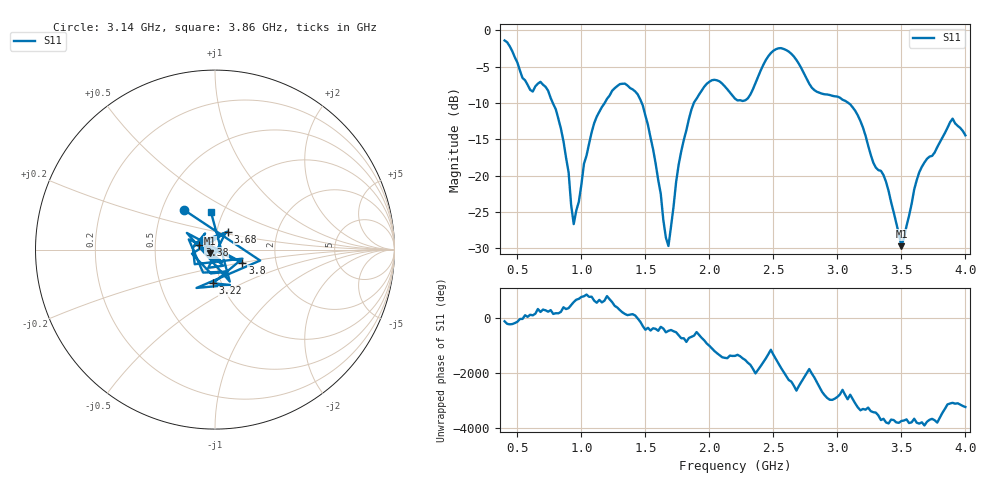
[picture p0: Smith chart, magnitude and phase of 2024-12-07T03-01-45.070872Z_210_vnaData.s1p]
!Created with skrf (http://scikit-rf.org).
# Hz S RI R 50.0
!freq ReS11 ImS11
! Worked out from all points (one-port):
!   181 points, 400 MHz to 4 GHz, reference 50 ohm
!   lowest |S11| = -29.7 dB at 3.5 GHz (marker M1), VSWR 1.07, Z = 47.4 - j1.83 ohm
!   |S11| at or under -10 dB: 776.5 MHz to 1.182 GHz (405.4 MHz wide, 41.4 % of centre); 1.471 GHz to 1.879 GHz (407.3 MHz wide, 24.3 % of centre); 3.085 GHz to end of sweep
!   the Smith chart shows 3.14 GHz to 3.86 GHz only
!   S11 on the Smith chart (normalised r, x): 3.14 GHz: 0.65, +0.31; 3.22 GHz: 0.91, -0.35; 3.38 GHz: 0.84, +0.04; 3.68 GHz: 1.13, +0.23; 3.8 GHz: 1.34, -0.20; 3.86 GHz: 0.87, +0.39
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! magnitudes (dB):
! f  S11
! 400 MHz  -1.4
! 600 MHz  -8.2
! 740 MHz  -8.3
! 860 MHz  -15.3
! 940 MHz  -26.7
! 1.1 GHz  -12.8
! 1.3 GHz  -7.4
! 1.48 GHz  -10.4
! 1.56 GHz  -16.4
! 1.68 GHz  -29.7
! 1.76 GHz  -18.5
! 1.86 GHz  -10.9
! 1.96 GHz  -7.8
! 2.2 GHz  -9.4
! 2.3 GHz  -9.4
! 2.5 GHz  -2.8
! 2.66 GHz  -3.6
! 2.82 GHz  -8.2
! 3.1 GHz  -10.2
! 3.14 GHz  -11.1
! 3.22 GHz  -14.5
! 3.38 GHz  -20.9
! 3.5 GHz  -29.7
! 3.56 GHz  -25.5
! 3.68 GHz  -18.2
! 3.8 GHz  -15.4
! 3.86 GHz  -13.4
! 4 GHz  -14.5
